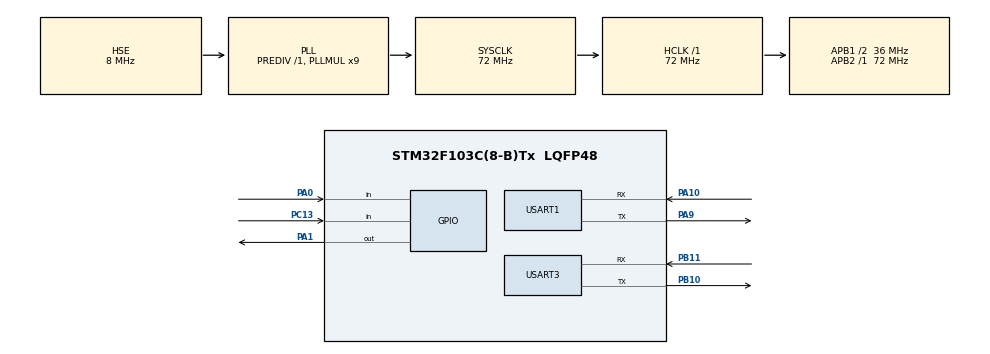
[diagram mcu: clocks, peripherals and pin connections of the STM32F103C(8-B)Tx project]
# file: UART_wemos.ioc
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Mcu.Family=STM32F1
Mcu.Name=STM32F103C(8-B)Tx
Mcu.Package=LQFP48
NVIC.PriorityGroup=NVIC_PRIORITYGROUP_4
PA0-WKUP.Signal=GPIO_Input
PA1.Signal=GPIO_Output
PA10.Mode=Asynchronous
PA10.Signal=USART1_RX
PA13.Mode=Serial_Wire
PA13.Signal=SYS_JTMS-SWDIO
PA14.Mode=Serial_Wire
PA14.Signal=SYS_JTCK-SWCLK
PA9.Mode=Asynchronous
PA9.Signal=USART1_TX
PB10.Mode=Asynchronous
PB10.Signal=USART3_TX
PB11.Mode=Asynchronous
PB11.Signal=USART3_RX
PC13-TAMPER-RTC.Signal=GPIO_Input
PD0-OSC_IN.Mode=HSE-External-Oscillator
PD0-OSC_IN.Signal=RCC_OSC_IN
PD1-OSC_OUT.Mode=HSE-External-Oscillator
PD1-OSC_OUT.Signal=RCC_OSC_OUT
ProjectManager.HeapSize=0x200
ProjectManager.StackSize=0x400
ProjectManager.TargetToolchain=MDK-ARM V5.32
RCC.AHBFreq_Value=72000000
RCC.APB1CLKDivider=RCC_HCLK_DIV2
RCC.APB1Freq_Value=36000000
RCC.APB1TimFreq_Value=72000000
RCC.APB2Freq_Value=72000000
RCC.APB2TimFreq_Value=72000000
RCC.HCLKFreq_Value=72000000
RCC.PLLMUL=RCC_PLL_MUL9
RCC.PLLSourceVirtual=RCC_PLLSOURCE_HSE
RCC.SYSCLKFreq_VALUE=72000000
RCC.SYSCLKSource=RCC_SYSCLKSOURCE_PLLCLK
RCC.USBFreq_Value=72000000
USART1.VirtualMode=VM_ASYNC
USART3.VirtualMode=VM_ASYNC
board=custom

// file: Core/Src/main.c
/* USER CODE BEGIN Header */
/**
  ******************************************************************************
  * @file           : main.c
  * @brief          : Main program body
  ******************************************************************************
  * @attention
  *
  * Copyright (c) 2026 STMicroelectronics.
  * All rights reserved.
  *
  * This software is licensed under terms that can be found in the LICENSE file
  * in the root directory of this software component.
  * If no LICENSE file comes with this software, it is provided AS-IS.
  *
  ******************************************************************************
  */
/* USER CODE END Header */
#include "main.h"

/* USER CODE BEGIN Includes */
#include <stdio.h>
#include <string.h>
/* USER CODE END Includes */

UART_HandleTypeDef huart1;
UART_HandleTypeDef huart3;

void SystemClock_Config(void);
static void MX_GPIO_Init(void);
static void MX_USART1_UART_Init(void);
static void MX_USART3_UART_Init(void);

int main(void)
{

  /* MCU Configuration--------------------------------------------------------*/

  /* Reset of all peripherals, Initializes the Flash interface and the Systick. */
  HAL_Init();

  /* Configure the system clock */
  SystemClock_Config();

  /* Initialize all configured peripherals */
  MX_GPIO_Init();
  MX_USART1_UART_Init();
  MX_USART3_UART_Init();
  /* USER CODE BEGIN 2 */

  // Buffer for receiving ESP8266 responses and incoming HTTP requests
  uint8_t rxBuffer[512];
  uint8_t byte;
  uint16_t index;
  uint32_t startTick;

  // Allow the Wemos to stabilise after power-on
  HAL_Delay(2000);

  // Initialise the ESP8266 in station mode and connect to Wi-Fi
  const char *commands[] = {
      "AT\r\n",
      "AT+CWMODE=1\r\n",
      "AT+CWJAP=\"SNUC\",\"snu12345\"\r\n",
      "AT+CIFSR\r\n",
      "AT+CIPMUX=1\r\n",
      "AT+CIPSERVER=1,80\r\n"
  };

  const uint32_t timeouts[] = {
      1000, 2000, 15000, 2000, 2000, 3000
  };

  for (uint8_t i = 0; i < 6; i++)
  {
      // Send the AT command to the Wemos
      HAL_UART_Transmit(&huart1, (uint8_t *)commands[i],
                        strlen(commands[i]), 1000);

      // Receive and discard the response while allowing time for the command
      startTick = HAL_GetTick();

      while ((HAL_GetTick() - startTick) < timeouts[i])
      {
          if (HAL_UART_Receive(&huart1, &byte, 1, 10) == HAL_OK)
          {
              // Stop waiting once the command's response is complete
              if (byte == '\n')
              {
                  // Continue reading; some responses contain multiple lines
              }
          }
      }
  }

  /* USER CODE END 2 */

  /* Infinite loop */
  /* USER CODE BEGIN WHILE */
  while (1)
  {
      // Receive incoming data from the ESP8266
      memset(rxBuffer, 0, sizeof(rxBuffer));
      index = 0;
      startTick = HAL_GetTick();

      // Collect data until the receive window expires or the buffer is full
      while ((HAL_GetTick() - startTick) < 50 &&
             index < sizeof(rxBuffer) - 1)
      {
          if (HAL_UART_Receive(&huart1, &byte, 1, 10) == HAL_OK)
          {
              rxBuffer[index++] = byte;
              rxBuffer[index] = '\0';
          }
      }

      // Check whether the received data contains an HTTP request
      char *ipd_ptr = strstr((char *)rxBuffer, "+IPD,");

      if (ipd_ptr != NULL)
      {
          // Extract the connection ID from the +IPD header
          char link_id = ipd_ptr[5];

          // Prepare the HTTP response body
          char text_body[] = "<html><body><h1>STM32 IoT Node</h1><p>Hello from STM32</p></body></html>";
          int text_len = strlen(text_body);
          char http_response[512];

          // Construct the HTTP response
          sprintf(http_response,
                  "HTTP/1.1 200 OK\r\n"
                  "Content-Type: text/html\r\n"
                  "Content-Length: %d\r\n"
                  "Connection: close\r\n\r\n"
                  "%s",
                  text_len, text_body);

          int total_packet_len = strlen(http_response);

          // Tell the ESP8266 how many bytes will be sent
          char at_send_cmd[32];

          sprintf(at_send_cmd, "AT+CIPSEND=%c,%d\r\n",
                  link_id, total_packet_len);

          HAL_UART_Transmit(&huart1, (uint8_t *)at_send_cmd,
                            strlen(at_send_cmd), 1000);

          // Wait for the ESP8266 send prompt
          startTick = HAL_GetTick();

          while ((HAL_GetTick() - startTick) < 1000)
          {
              if (HAL_UART_Receive(&huart1, &byte, 1, 10) == HAL_OK)
              {
                  if (byte == '>')
                  {
                      break;
                  }
              }
          }

          // Send the HTTP response
          HAL_UART_Transmit(&huart1, (uint8_t *)http_response,
                            total_packet_len, 1000);

          // Allow the response to be transmitted before closing the connection
          HAL_Delay(200);

          char close_cmd[32];

          sprintf(close_cmd, "AT+CIPCLOSE=%c\r\n", link_id);

          HAL_UART_Transmit(&huart1, (uint8_t *)close_cmd,
                            strlen(close_cmd), 1000);

          HAL_Delay(100);
      }

      HAL_Delay(10);

    /* USER CODE END WHILE */

  }
}

void SystemClock_Config(void)
{
  RCC_OscInitTypeDef RCC_OscInitStruct = {0};
  RCC_ClkInitTypeDef RCC_ClkInitStruct = {0};

  /** Initializes the RCC Oscillators according to the specified parameters
  * in the RCC_OscInitTypeDef structure.
  */
  RCC_OscInitStruct.OscillatorType = RCC_OSCILLATORTYPE_HSE;
  RCC_OscInitStruct.HSEState = RCC_HSE_ON;
  RCC_OscInitStruct.HSEPredivValue = RCC_HSE_PREDIV_DIV1;
  RCC_OscInitStruct.HSIState = RCC_HSI_ON;
  RCC_OscInitStruct.PLL.PLLState = RCC_PLL_ON;
  RCC_OscInitStruct.PLL.PLLSource = RCC_PLLSOURCE_HSE;
  RCC_OscInitStruct.PLL.PLLMUL = RCC_PLL_MUL9;
  if (HAL_RCC_OscConfig(&RCC_OscInitStruct) != HAL_OK)
  {
    Error_Handler();
  }

  /** Initializes the CPU, AHB and APB buses clocks
  */
  RCC_ClkInitStruct.ClockType = RCC_CLOCKTYPE_HCLK|RCC_CLOCKTYPE_SYSCLK
                              |RCC_CLOCKTYPE_PCLK1|RCC_CLOCKTYPE_PCLK2;
  RCC_ClkInitStruct.SYSCLKSource = RCC_SYSCLKSOURCE_PLLCLK;
  RCC_ClkInitStruct.AHBCLKDivider = RCC_SYSCLK_DIV1;
  RCC_ClkInitStruct.APB1CLKDivider = RCC_HCLK_DIV2;
  RCC_ClkInitStruct.APB2CLKDivider = RCC_HCLK_DIV1;

  if (HAL_RCC_ClockConfig(&RCC_ClkInitStruct, FLASH_LATENCY_2) != HAL_OK)
  {
    Error_Handler();
  }
}

static void MX_USART1_UART_Init(void)
{

  huart1.Instance = USART1;
  huart1.Init.BaudRate = 115200;
  huart1.Init.WordLength = UART_WORDLENGTH_8B;
  huart1.Init.StopBits = UART_STOPBITS_1;
  huart1.Init.Parity = UART_PARITY_NONE;
  huart1.Init.Mode = UART_MODE_TX_RX;
  huart1.Init.HwFlowCtl = UART_HWCONTROL_NONE;
  huart1.Init.OverSampling = UART_OVERSAMPLING_16;
  if (HAL_UART_Init(&huart1) != HAL_OK)
  {
    Error_Handler();
  }

}

static void MX_USART3_UART_Init(void)
{

  huart3.Instance = USART3;
  huart3.Init.BaudRate = 115200;
  huart3.Init.WordLength = UART_WORDLENGTH_8B;
  huart3.Init.StopBits = UART_STOPBITS_1;
  huart3.Init.Parity = UART_PARITY_NONE;
  huart3.Init.Mode = UART_MODE_TX_RX;
  huart3.Init.HwFlowCtl = UART_HWCONTROL_NONE;
  huart3.Init.OverSampling = UART_OVERSAMPLING_16;
  if (HAL_UART_Init(&huart3) != HAL_OK)
  {
    Error_Handler();
  }

}

static void MX_GPIO_Init(void)
{
  GPIO_InitTypeDef GPIO_InitStruct = {0};

  /* GPIO Ports Clock Enable */
  __HAL_RCC_GPIOC_CLK_ENABLE();
  __HAL_RCC_GPIOD_CLK_ENABLE();
  __HAL_RCC_GPIOA_CLK_ENABLE();
  __HAL_RCC_GPIOB_CLK_ENABLE();

  /*Configure GPIO pin Output Level */
  HAL_GPIO_WritePin(GPIOA, GPIO_PIN_1, GPIO_PIN_RESET);

  /*Configure GPIO pin : PC13 */
  GPIO_InitStruct.Pin = GPIO_PIN_13;
  GPIO_InitStruct.Mode = GPIO_MODE_INPUT;
  GPIO_InitStruct.Pull = GPIO_NOPULL;
  HAL_GPIO_Init(GPIOC, &GPIO_InitStruct);

  /*Configure GPIO pin : PA0 */
  GPIO_InitStruct.Pin = GPIO_PIN_0;
  GPIO_InitStruct.Mode = GPIO_MODE_INPUT;
  GPIO_InitStruct.Pull = GPIO_NOPULL;
  HAL_GPIO_Init(GPIOA, &GPIO_InitStruct);

  /*Configure GPIO pin : PA1 */
  GPIO_InitStruct.Pin = GPIO_PIN_1;
  GPIO_InitStruct.Mode = GPIO_MODE_OUTPUT_PP;
  GPIO_InitStruct.Pull = GPIO_NOPULL;
  GPIO_InitStruct.Speed = GPIO_SPEED_FREQ_LOW;
  HAL_GPIO_Init(GPIOA, &GPIO_InitStruct);

}

void Error_Handler(void)
{
  __disable_irq();
  while (1)
  {
  }
}
